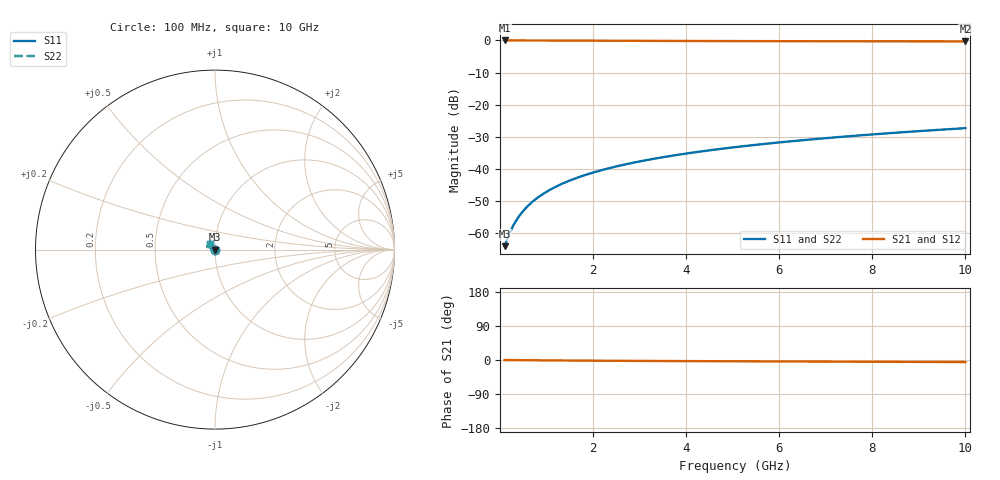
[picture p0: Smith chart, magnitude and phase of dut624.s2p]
! Touchstone file exported from HFSS 2024.1.0
!  File:  C:/UserFiles/LocalFiles/RDL_TSV_Batchsim/temp_TSV1_624_1779789475.aedt
!  Generated:  06:04:14 PM May 26, 2026
!  Design:  TSV1
!  Project:  temp_TSV1_624_1779789475
!  Setup:  Setup1
!  Solution:  Sweep
! Variables:
!  dtsv = 5.44um
!  hbump = 3um
!  htsv = 74.66um
!  lrdl = 252.1521522um
!  p = 40
!  p1 = 59.56um
!  t = 500um
!  trdl = 3um
!  wrdl = 24.89489489um
# GHz S MA R 50.000000
! Terminal data exported
! Port[1] = TSV22_T1
! Port[2] = TSV22_T2
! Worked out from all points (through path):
!   100 points, 100 MHz to 10 GHz, reference 50 ohm
!   highest |S21| = 0.00 dB at 100 MHz (marker M1); lowest = -0.3 dB at 10 GHz (marker M2)
!   lowest |S11| = -64.1 dB at 100 MHz (marker M3), VSWR 1.00, Z = 50 - j0.0453 ohm
!   |S11| at or under -10 dB: start of sweep to end of sweep
!   |S22| runs from -64.1 to -27.3 dB; largest |S21 - S12| = 3.3e-15
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0.1  0.0006221 -46.7  0.9995 -0.1  0.9995 -0.1  0.0006221 -46.7
! Gamma 0 0 0 0
! Port Impedance 50 0 50 0
0.2  0.0009686 -68.6  0.9994 -0.2  0.9994 -0.2  0.0009686 -68.6
0.3  0.001365 -80.2  0.9993 -0.3  0.9993 -0.3  0.001365 -80.2
0.4  0.00178 -88.0  0.9991 -0.4  0.9991 -0.4  0.00178 -88.0
0.5  0.002205 -93.9  0.9989 -0.5  0.9989 -0.5  0.002205 -93.9
0.6  0.002635 -98.8  0.9986 -0.6  0.9986 -0.6  0.002635 -98.8
0.7  0.003068 -103.1  0.9983 -0.7  0.9983 -0.7  0.003068 -103.1
0.9  0.003939 -110.8  0.9976 -0.9  0.9976 -0.9  0.003939 -110.8
1  0.004375 -114.2  0.9972 -1.0  0.9972 -1.0  0.004375 -114.2
1.2  0.005247 -120.7  0.9963 -1.2  0.9963 -1.2  0.005247 -120.7
1.5  0.006553 -129.7  0.9948 -1.4  0.9948 -1.4  0.006553 -129.7
1.8  0.007854 -138.0  0.9931 -1.6  0.9931 -1.6  0.007854 -138.0
2.1  0.009149 -145.6  0.9913 -1.9  0.9913 -1.9  0.009149 -145.6
2.5  0.01087 -154.9  0.989 -2.1  0.989 -2.1  0.01087 -154.9
2.9  0.01258 -163.3  0.9866 -2.4  0.9866 -2.4  0.01258 -163.3
3.4  0.01471 -172.7  0.9839 -2.6  0.9839 -2.6  0.01471 -172.7
4.2  0.01811 174.6  0.9801 -3.0  0.9801 -3.0  0.01811 174.6
5.1  0.02192 163.2  0.9766 -3.4  0.9766 -3.4  0.02192 163.2
5.9  0.02532 154.9  0.9741 -3.7  0.9741 -3.7  0.02532 154.9
6.7  0.02873 147.9  0.9721 -4.1  0.9721 -4.1  0.02873 147.9
8.4  0.03601 136.6  0.9688 -4.8  0.9688 -4.8  0.03601 136.6
10  0.04293 128.7  0.9666 -5.4  0.9666 -5.4  0.04293 128.7
